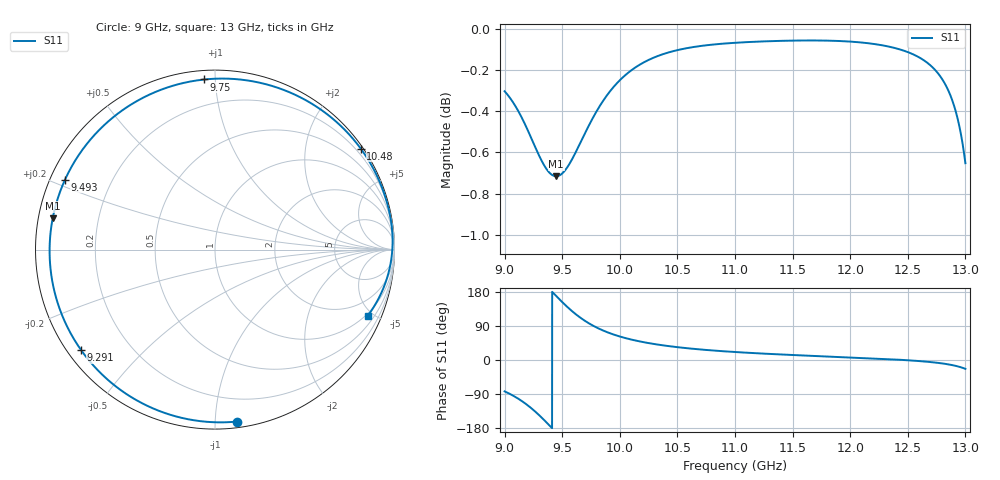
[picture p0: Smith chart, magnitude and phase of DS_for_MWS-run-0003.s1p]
! TOUCHSTONE file generated by CST DESIGN STUDIO
! Date and time: Tue Feb  4 12:57:21 2025
! Project name: C:\Work\MatlabApps\UnitCellOptimizationMatlab\CST\unitcell.cst
! Tree item: Tasks\Sweep1\SPara1\S-Parameters
! Header version: 2024
! Port assignment regex: !\s*Touchstone port\s*([0-9]+)\s*=\s*(CST MWS port|CST DES external port|CST DES block port)\s*(.+)\s* \(\"(.*)\"\)(\s*mode\s*([0-9]+))?.*
! Touchstone port assignment:
! Touchstone port 1 = CST DES external port 1 ("")
# GHz S MA R 50
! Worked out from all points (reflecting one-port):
!   4001 points, 9 GHz to 13 GHz, reference 50 ohm
!   lowest |S11| = -0.7 dB at 9.447 GHz (marker M1), VSWR 24.29, Z = 2.08 + j4.74 ohm
!   phase of S11 starts at -83 deg and turns -301 deg over the sweep
!   S11 on the Smith chart (normalised r, x): 9 GHz: 0.04, -1.13; 9.291 GHz: 0.04, -0.33; 9.493 GHz: 0.04, +0.22; 9.75 GHz: 0.05, +0.94; 10.48 GHz: 0.07, +3.20; 13 GHz: 0.89, -4.68
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9  0.9658 -82.8
9.088  0.9584 -96.6
9.161  0.9501 -110.7
9.227  0.9414 -126.0
9.291  0.9327 -143.1
9.333  0.9276 -155.4
9.372  0.924 -167.3
9.41  0.9217 -179.2
9.447  0.9209 169.1
9.493  0.922 155.0
9.5  0.9224 152.9
9.56  0.927 135.7
9.618  0.9335 120.8
9.68  0.9411 106.9
9.75  0.9496 93.6
9.87  0.962 75.9
10  0.9717 62.0
10.097  0.977 54.1
10.207  0.9815 47.0
10.476  0.9879 34.7
10.5  0.9883 33.8
11  0.9923 21.1
11.5  0.9935 13.2
12  0.993 6.8
12.5  0.9872 -0.7
12.8  0.9722 -9.1
12.911  0.9561 -15.1
13  0.9277 -23.4
